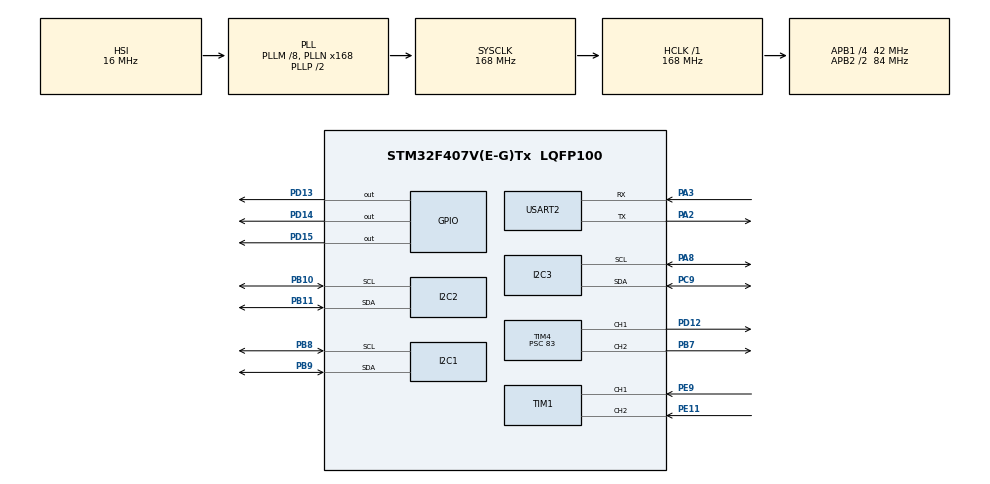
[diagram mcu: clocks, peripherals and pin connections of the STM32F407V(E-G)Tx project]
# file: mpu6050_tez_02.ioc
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I2C1.DutyCycle=I2C_DUTYCYCLE_16_9
I2C1.I2C_Mode=I2C_Fast
I2C2.DutyCycle=I2C_DUTYCYCLE_16_9
I2C2.I2C_Mode=I2C_Fast
I2C3.I2C_Mode=I2C_Fast
Mcu.Family=STM32F4
Mcu.Name=STM32F407V(E-G)Tx
Mcu.Package=LQFP100
NVIC.PriorityGroup=NVIC_PRIORITYGROUP_0
PA13.Mode=Serial_Wire
PA13.Signal=SYS_JTMS-SWDIO
PA14.Mode=Serial_Wire
PA14.Signal=SYS_JTCK-SWCLK
PA2.Mode=Asynchronous
PA2.Signal=USART2_TX
PA3.Mode=Asynchronous
PA3.Signal=USART2_RX
PA8.Mode=I2C
PA8.Signal=I2C3_SCL
PB10.Mode=I2C
PB10.Signal=I2C2_SCL
PB11.Mode=I2C
PB11.Signal=I2C2_SDA
PB7.Signal=S_TIM4_CH2
PB8.Mode=I2C
PB8.Signal=I2C1_SCL
PB9.Mode=I2C
PB9.Signal=I2C1_SDA
PC9.Mode=I2C
PC9.Signal=I2C3_SDA
PD12.Signal=S_TIM4_CH1
PD13.Signal=GPIO_Output
PD14.Signal=GPIO_Output
PD15.Signal=GPIO_Output
PE11.Signal=S_TIM1_CH2
PE9.Signal=S_TIM1_CH1
PH0-OSC_IN.Mode=HSE-External-Oscillator
PH0-OSC_IN.Signal=RCC_OSC_IN
PH1-OSC_OUT.Mode=HSE-External-Oscillator
PH1-OSC_OUT.Signal=RCC_OSC_OUT
ProjectManager.HeapSize=0x200
ProjectManager.StackSize=0x400
ProjectManager.TargetToolchain=STM32CubeIDE
RCC.48MHZClocksFreq_Value=48000000
RCC.AHBFreq_Value=168000000
RCC.APB1CLKDivider=RCC_HCLK_DIV4
RCC.APB1Freq_Value=42000000
RCC.APB1TimFreq_Value=84000000
RCC.APB2CLKDivider=RCC_HCLK_DIV2
RCC.APB2Freq_Value=84000000
RCC.APB2TimFreq_Value=168000000
RCC.CortexFreq_Value=168000000
RCC.HCLKFreq_Value=168000000
RCC.HSE_VALUE=8000000
RCC.HSI_VALUE=16000000
RCC.LSE_VALUE=32768
RCC.PLLM=8
RCC.PLLN=168
RCC.PLLQ=7
RCC.SYSCLKFreq_VALUE=168000000
RCC.SYSCLKSource=RCC_SYSCLKSOURCE_PLLCLK
RCC.VCOOutputFreq_Value=336000000
SH.S_TIM1_CH1.0=TIM1_CH1,Encoder_Interface
SH.S_TIM1_CH2.0=TIM1_CH2,Encoder_Interface
SH.S_TIM4_CH1.0=TIM4_CH1,PWM Generation1 CH1
SH.S_TIM4_CH2.0=TIM4_CH2,PWM Generation2 CH2
TIM1.EncoderMode=TIM_ENCODERMODE_TI12
TIM1.IC2Filter=10
TIM4.Channel-PWM\ Generation1\ CH1=TIM_CHANNEL_1
TIM4.Channel-PWM\ Generation2\ CH2=TIM_CHANNEL_2
TIM4.Period=19999
TIM4.Prescaler=83
USART2.VirtualMode=VM_ASYNC
board=STM32F407G-DISC1

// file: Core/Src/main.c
/* USER CODE BEGIN Header */
/**
  ******************************************************************************
  * @file           : main.c
  * @brief          : Main program body
  ******************************************************************************
  * @attention
  *
  * Copyright (c) 2022 STMicroelectronics.
  * All rights reserved.
  *
  * This software is licensed under terms that can be found in the LICENSE file
  * in the root directory of this software component.
  * If no LICENSE file comes with this software, it is provided AS-IS.
  *
  ******************************************************************************
  */
/* USER CODE END Header */
#include "main.h"

/* USER CODE BEGIN Includes */
#include "MPU6050.h"
#include <math.h>
#include <stdio.h>
#include <stdlib.h>
#include<stdint.h>
/* USER CODE END Includes */

I2C_HandleTypeDef hi2c1;
I2C_HandleTypeDef hi2c2;
I2C_HandleTypeDef hi2c3;

TIM_HandleTypeDef htim1;
TIM_HandleTypeDef htim4;

UART_HandleTypeDef huart2;

/* USER CODE BEGIN PV */
uint32_t MAP(uint32_t au32_IN, uint32_t au32_INmin, uint32_t au32_INmax, uint32_t au32_OUTmin, uint32_t au32_OUTmax);
float cax, cay, caz, cgx, cgy, cgz;
int16_t ax, ay, az, gx, gy, gz, temp;
float temperature, gyro_roll, gyro_pitch, acc_roll, acc_pitch, acc_total_vector, angle_roll, angle_pitch;
float time, prevtime, elapsedtime;
int pulse;

float cax_2, cay_2, caz_2, cgx_2, cgy_2, cgz_2;
int16_t ax_2, ay_2, az_2, gx_2, gy_2, gz_2, temp_2;
float temperature_2, gyro_roll_2, gyro_pitch_2, acc_roll_2, acc_pitch_2, acc_total_vector_2, angle_roll_2, angle_pitch_2;
//float time_2, prevtime_2, elapsedtime_2;
//int pulse_2;

float cax_3, cay_3, caz_3, cgx_3, cgy_3, cgz_3;
int16_t ax_3, ay_3, az_3, gx_3, gy_3, gz_3, temp_3;
float temperature_3, gyro_roll_3, gyro_pitch_3, acc_roll_3, acc_pitch_3, acc_total_vector_3, angle_roll_3, angle_pitch_3;
//float time_3, prevtime_3, elapsedtime_3;
//int pulse_3;

float cax_4, cay_4, caz_4, cgx_4, cgy_4, cgz_4;
int16_t ax_4, ay_4, az_4, gx_4, gy_4, gz_4, temp_4;
float temperature_4, gyro_roll_4, gyro_pitch_4, acc_roll_4, acc_pitch_4, acc_total_vector_4, angle_roll_4, angle_pitch_4;

uint16_t encvalue;
/* USER CODE END PV */

void SystemClock_Config(void);
static void MX_GPIO_Init(void);
static void MX_I2C1_Init(void);
static void MX_USART2_UART_Init(void);
static void MX_TIM4_Init(void);
static void MX_I2C2_Init(void);
static void MX_I2C3_Init(void);
static void MX_TIM1_Init(void);

/* USER CODE BEGIN 0 */
int MPU6050_TEST()
{
	HAL_StatusTypeDef status;

	status = HAL_I2C_IsDeviceReady(&hi2c1, MPU6050_ADDRESS , 4, HAL_MAX_DELAY);

	if(status==HAL_OK)
	{
		return 1;
	}
	else
	{
		return 0;
	}
}
int MPU6050_TEST2()
{
	HAL_StatusTypeDef status;

	status = HAL_I2C_IsDeviceReady(&hi2c2, MPU6050_ADDRESS , 4, HAL_MAX_DELAY);

	if(status==HAL_OK)
	{

		return 1;
	}
	else
	{
		return 0;
	}
}
uint32_t MAP(uint32_t au32_IN, uint32_t au32_INmin, uint32_t au32_INmax, uint32_t au32_OUTmin, uint32_t au32_OUTmax)
{
    return ((((au32_IN - au32_INmin)*(au32_OUTmax - au32_OUTmin))/(au32_INmax - au32_INmin)) + au32_OUTmin);
}

/* USER CODE END 0 */

int main(void)
{

  /* MCU Configuration--------------------------------------------------------*/

  /* Reset of all peripherals, Initializes the Flash interface and the Systick. */
  HAL_Init();

  /* Configure the system clock */
  SystemClock_Config();

  /* Initialize all configured peripherals */
  MX_GPIO_Init();
  MX_I2C1_Init();
  MX_USART2_UART_Init();
  MX_TIM4_Init();
  MX_I2C2_Init();
  MX_I2C3_Init();
  MX_TIM1_Init();
  /* USER CODE BEGIN 2 */
  Init(FS_SEL_500, AFS_SEL_8G, DLPF_CFG_3); // Temel ayarlamalar yapiliir. Jiroskop, ivmeölçer hassasiyeti ve filtre değeri
  Imu_Calibration(100, &cax, &cay, &caz, &cgx, &cgy, &cgz); // kalibrasyon fonksiyonudur 2000 ölçüm yaparak ortalamasi alinir, duz zeminde yapilmasi tavsiye edilir.
 //  Init(FS_SEL_500, AFS_SEL_8G, DLPF_CFG_3); // Temel ayarlamalar yapiliir. Jiroskop, ivmeölçer hassasiyeti ve filtre değeri
    // Imu_Calibration2(100, &cax_2, &cay_2, &caz_2, &cgx_2, &cgy_2, &cgz_2); // kalibrasyon fonksiyonudur 2000 ölçüm yaparak ortalamasi alinir, duz zeminde yapilmasi tavsiye edilir.

  //  Imu_Calibration3(100, &cax_3, &cay_3, &caz_3, &cgx_3, &cgy_3, &cgz_3); // kalibrasyon fonksiyonudur 2000 ölçüm yaparak ortalamasi alinir, duz zeminde yapilmasi tavsiye edilir.
  //  HAL_TIM_PWM_Start(&htim4, TIM_CHANNEL_1);
 //HAL_TIM_PWM_Start(&htim4, TIM_CHANNEL_2);
  HAL_TIM_Encoder_Start(&htim1, TIM_CHANNEL_ALL);
  /* USER CODE END 2 */

  /* Infinite loop */
  while (1)
  {

    /* USER CODE BEGIN 3 */

	//  status =  MPU6050_TEST();
	  //status2 =  MPU6050_TEST();
	  //Dongu baslangici ile zaman sayimina baslayan fonksiyonlardir, while dongusunun altinda diger kisimi bulunmaktadir.
	  	  prevtime = time;
	  	  time = HAL_GetTick();
	  	  elapsedtime=(time-prevtime)*1000;

	  	  //ham verileri elde etme
	  	  Imu_Raw_Values(&ax, &ay, &az, &gx, &gy, &gz, &temp);
	  	Imu_Raw_Values2(&ax_2, &ay_2, &az_2, &gx_2, &gy_2, &gz_2, &temp_2);
	  	Imu_Raw_Values3(&ax_3, &ay_3, &az_3, &gx_3, &gy_3, &gz_3, &temp_3);
	 	Imu_Raw_Values4(&ax_4, &ay_4, &az_4, &gx_4, &gy_4, &gz_4, &temp_4);
	  	  //gyro acilari elde etme
	  	  gyro_roll += (gx-cgx)*0.004; //4000 us == 0.004 saniye --> derece/saniye
	  	  gyro_pitch += (gy-cgy)*0.004;

	  	 gyro_roll_2 += (gx_2-cgx_2)*0.004; //4000 us == 0.004 saniye --> derece/saniye
	     gyro_pitch_2 += (gy_2-cgy_2)*0.004;

	     gyro_roll_3 += (gx_3-cgx_3)*0.004; //4000 us == 0.004 saniye --> derece/saniye
	      gyro_pitch_3 += (gy_3-cgy_3)*0.004;

	     gyro_roll_4 += (gx_4-cgx_4)*0.004; //4000 us == 0.004 saniye --> derece/saniye
	     gyro_pitch_4 += (gy_4-cgy_4)*0.004;
	  	  //ivmeolcer verilerinden aci elde etme - euler acilari
	  	  acc_total_vector = sqrt(ax*ax + ay*ay + az*az);
	  	 acc_total_vector_2 = sqrt(ax_2*ax_2 + ay_2*ay_2 + az_2*az_2);
		 acc_total_vector_3 = sqrt(ax_3*ax_3 + ay_3*ay_3 + az_3*az_3);
		 acc_total_vector_4 = sqrt(ax_4*ax_4 + ay_3*ay_4 + az_4*az_4);

	  	  //57.296 = 1 / (3.142 / 180)
	  	  acc_pitch = asin((float)ay / acc_total_vector) * 57.296;
	  	  acc_roll = asin((float)ax / acc_total_vector) * 57.296;

	  	acc_pitch_2 = asin((float)ay_2 / acc_total_vector_2) * 57.296;
	     acc_roll_2 = asin((float)ax_2 / acc_total_vector_2) * 57.296;

	 	acc_pitch_3 = asin((float)ay_3 / acc_total_vector_3) * 57.296;
	 	 acc_roll_3 = asin((float)ax_3 / acc_total_vector_3) * 57.296;

	 	acc_pitch_4 = asin((float)ay_4 / acc_total_vector_4) * 57.296;
	 	 	 acc_roll_4 = asin((float)ax_4 / acc_total_vector_4) * 57.296;
	  	  //ilkel tamamlayici filtre toplam kisimi
	  	  angle_pitch = angle_pitch * 0.9 + acc_pitch * 0.1;
	  	  angle_roll = angle_roll * 0.9 + acc_roll * 0.1;

		  angle_pitch_2 = angle_pitch_2 * 0.9 + acc_pitch_2 * 0.1;
		  angle_roll_2 = angle_roll_2 * 0.9 + acc_roll_2 * 0.1;

		  angle_pitch_3 = angle_pitch_3 * 0.9 + acc_pitch_3 * 0.1;
		angle_roll_3 = angle_roll_3 * 0.9 + acc_roll_3 * 0.1;

		  angle_pitch_4 = angle_pitch_4 * 0.9 + acc_pitch_4 * 0.1;
			angle_roll_4 = angle_roll_4 * 0.9 + acc_roll_4 * 0.1;
	  	 //sicaklik hesabi-formulsayon datasheet icerisinde mevcuttur
	  	  temperature = (temp/340.0)+36.53;
		  temperature_2 = (temp_2/340.0)+36.53;
		 temperature_3 = (temp_3/340.0)+36.53;
		  temperature_4 = (temp_4/340.0)+36.53;

     HAL_GPIO_WritePin(GPIOD, GPIO_PIN_13, GPIO_PIN_SET);
	  	  //tek dongu suresini 4000 us degerine sabitleyen blok
	  	  while((HAL_GetTick() - prevtime)*1000 < 4000);
	  	  prevtime = HAL_GetTick();
		  encvalue =  __HAL_TIM_GET_COUNTER(&htim1);
	pulse 	=  MAP(angle_pitch, 0, 90, 500, 2000);
	  __HAL_TIM_SET_COMPARE(&htim4,TIM_CHANNEL_1,pulse);
  }
  /* USER CODE END 3 */
}

void SystemClock_Config(void)
{
  RCC_OscInitTypeDef RCC_OscInitStruct = {0};
  RCC_ClkInitTypeDef RCC_ClkInitStruct = {0};

  /** Configure the main internal regulator output voltage
  */
  __HAL_RCC_PWR_CLK_ENABLE();
  __HAL_PWR_VOLTAGESCALING_CONFIG(PWR_REGULATOR_VOLTAGE_SCALE1);

  /** Initializes the RCC Oscillators according to the specified parameters
  * in the RCC_OscInitTypeDef structure.
  */
  RCC_OscInitStruct.OscillatorType = RCC_OSCILLATORTYPE_HSI;
  RCC_OscInitStruct.HSIState = RCC_HSI_ON;
  RCC_OscInitStruct.HSICalibrationValue = RCC_HSICALIBRATION_DEFAULT;
  RCC_OscInitStruct.PLL.PLLState = RCC_PLL_ON;
  RCC_OscInitStruct.PLL.PLLSource = RCC_PLLSOURCE_HSI;
  RCC_OscInitStruct.PLL.PLLM = 8;
  RCC_OscInitStruct.PLL.PLLN = 168;
  RCC_OscInitStruct.PLL.PLLP = RCC_PLLP_DIV2;
  RCC_OscInitStruct.PLL.PLLQ = 7;
  if (HAL_RCC_OscConfig(&RCC_OscInitStruct) != HAL_OK)
  {
    Error_Handler();
  }

  /** Initializes the CPU, AHB and APB buses clocks
  */
  RCC_ClkInitStruct.ClockType = RCC_CLOCKTYPE_HCLK|RCC_CLOCKTYPE_SYSCLK
                              |RCC_CLOCKTYPE_PCLK1|RCC_CLOCKTYPE_PCLK2;
  RCC_ClkInitStruct.SYSCLKSource = RCC_SYSCLKSOURCE_PLLCLK;
  RCC_ClkInitStruct.AHBCLKDivider = RCC_SYSCLK_DIV1;
  RCC_ClkInitStruct.APB1CLKDivider = RCC_HCLK_DIV4;
  RCC_ClkInitStruct.APB2CLKDivider = RCC_HCLK_DIV2;

  if (HAL_RCC_ClockConfig(&RCC_ClkInitStruct, FLASH_LATENCY_5) != HAL_OK)
  {
    Error_Handler();
  }
}

static void MX_I2C1_Init(void)
{

  hi2c1.Instance = I2C1;
  hi2c1.Init.ClockSpeed = 400000;
  hi2c1.Init.DutyCycle = I2C_DUTYCYCLE_16_9;
  hi2c1.Init.OwnAddress1 = 0;
  hi2c1.Init.AddressingMode = I2C_ADDRESSINGMODE_7BIT;
  hi2c1.Init.DualAddressMode = I2C_DUALADDRESS_DISABLE;
  hi2c1.Init.OwnAddress2 = 0;
  hi2c1.Init.GeneralCallMode = I2C_GENERALCALL_DISABLE;
  hi2c1.Init.NoStretchMode = I2C_NOSTRETCH_DISABLE;
  if (HAL_I2C_Init(&hi2c1) != HAL_OK)
  {
    Error_Handler();
  }

}

static void MX_I2C2_Init(void)
{

  hi2c2.Instance = I2C2;
  hi2c2.Init.ClockSpeed = 400000;
  hi2c2.Init.DutyCycle = I2C_DUTYCYCLE_16_9;
  hi2c2.Init.OwnAddress1 = 0;
  hi2c2.Init.AddressingMode = I2C_ADDRESSINGMODE_7BIT;
  hi2c2.Init.DualAddressMode = I2C_DUALADDRESS_DISABLE;
  hi2c2.Init.OwnAddress2 = 0;
  hi2c2.Init.GeneralCallMode = I2C_GENERALCALL_DISABLE;
  hi2c2.Init.NoStretchMode = I2C_NOSTRETCH_DISABLE;
  if (HAL_I2C_Init(&hi2c2) != HAL_OK)
  {
    Error_Handler();
  }

}

static void MX_I2C3_Init(void)
{

  hi2c3.Instance = I2C3;
  hi2c3.Init.ClockSpeed = 400000;
  hi2c3.Init.DutyCycle = I2C_DUTYCYCLE_2;
  hi2c3.Init.OwnAddress1 = 0;
  hi2c3.Init.AddressingMode = I2C_ADDRESSINGMODE_7BIT;
  hi2c3.Init.DualAddressMode = I2C_DUALADDRESS_DISABLE;
  hi2c3.Init.OwnAddress2 = 0;
  hi2c3.Init.GeneralCallMode = I2C_GENERALCALL_DISABLE;
  hi2c3.Init.NoStretchMode = I2C_NOSTRETCH_DISABLE;
  if (HAL_I2C_Init(&hi2c3) != HAL_OK)
  {
    Error_Handler();
  }

}

static void MX_TIM1_Init(void)
{

  TIM_Encoder_InitTypeDef sConfig = {0};
  TIM_MasterConfigTypeDef sMasterConfig = {0};

  htim1.Instance = TIM1;
  htim1.Init.Prescaler = 0;
  htim1.Init.CounterMode = TIM_COUNTERMODE_UP;
  htim1.Init.Period = 65535;
  htim1.Init.ClockDivision = TIM_CLOCKDIVISION_DIV1;
  htim1.Init.RepetitionCounter = 0;
  htim1.Init.AutoReloadPreload = TIM_AUTORELOAD_PRELOAD_DISABLE;
  sConfig.EncoderMode = TIM_ENCODERMODE_TI12;
  sConfig.IC1Polarity = TIM_ICPOLARITY_RISING;
  sConfig.IC1Selection = TIM_ICSELECTION_DIRECTTI;
  sConfig.IC1Prescaler = TIM_ICPSC_DIV1;
  sConfig.IC1Filter = 0;
  sConfig.IC2Polarity = TIM_ICPOLARITY_RISING;
  sConfig.IC2Selection = TIM_ICSELECTION_DIRECTTI;
  sConfig.IC2Prescaler = TIM_ICPSC_DIV1;
  sConfig.IC2Filter = 0;
  if (HAL_TIM_Encoder_Init(&htim1, &sConfig) != HAL_OK)
  {
    Error_Handler();
  }
  sMasterConfig.MasterOutputTrigger = TIM_TRGO_RESET;
  sMasterConfig.MasterSlaveMode = TIM_MASTERSLAVEMODE_DISABLE;
  if (HAL_TIMEx_MasterConfigSynchronization(&htim1, &sMasterConfig) != HAL_OK)
  {
    Error_Handler();
  }

}

static void MX_TIM4_Init(void)
{

  TIM_MasterConfigTypeDef sMasterConfig = {0};
  TIM_OC_InitTypeDef sConfigOC = {0};

  htim4.Instance = TIM4;
  htim4.Init.Prescaler = 83;
  htim4.Init.CounterMode = TIM_COUNTERMODE_UP;
  htim4.Init.Period = 19999;
  htim4.Init.ClockDivision = TIM_CLOCKDIVISION_DIV1;
  htim4.Init.AutoReloadPreload = TIM_AUTORELOAD_PRELOAD_DISABLE;
  if (HAL_TIM_PWM_Init(&htim4) != HAL_OK)
  {
    Error_Handler();
  }
  sMasterConfig.MasterOutputTrigger = TIM_TRGO_RESET;
  sMasterConfig.MasterSlaveMode = TIM_MASTERSLAVEMODE_DISABLE;
  if (HAL_TIMEx_MasterConfigSynchronization(&htim4, &sMasterConfig) != HAL_OK)
  {
    Error_Handler();
  }
  sConfigOC.OCMode = TIM_OCMODE_PWM1;
  sConfigOC.Pulse = 0;
  sConfigOC.OCPolarity = TIM_OCPOLARITY_HIGH;
  sConfigOC.OCFastMode = TIM_OCFAST_DISABLE;
  if (HAL_TIM_PWM_ConfigChannel(&htim4, &sConfigOC, TIM_CHANNEL_1) != HAL_OK)
  {
    Error_Handler();
  }
  if (HAL_TIM_PWM_ConfigChannel(&htim4, &sConfigOC, TIM_CHANNEL_2) != HAL_OK)
  {
    Error_Handler();
  }
  HAL_TIM_MspPostInit(&htim4);

}

static void MX_USART2_UART_Init(void)
{

  huart2.Instance = USART2;
  huart2.Init.BaudRate = 115200;
  huart2.Init.WordLength = UART_WORDLENGTH_8B;
  huart2.Init.StopBits = UART_STOPBITS_1;
  huart2.Init.Parity = UART_PARITY_NONE;
  huart2.Init.Mode = UART_MODE_TX_RX;
  huart2.Init.HwFlowCtl = UART_HWCONTROL_NONE;
  huart2.Init.OverSampling = UART_OVERSAMPLING_16;
  if (HAL_UART_Init(&huart2) != HAL_OK)
  {
    Error_Handler();
  }

}

static void MX_GPIO_Init(void)
{
  GPIO_InitTypeDef GPIO_InitStruct = {0};

  /* GPIO Ports Clock Enable */
  __HAL_RCC_GPIOH_CLK_ENABLE();
  __HAL_RCC_GPIOA_CLK_ENABLE();
  __HAL_RCC_GPIOE_CLK_ENABLE();
  __HAL_RCC_GPIOB_CLK_ENABLE();
  __HAL_RCC_GPIOD_CLK_ENABLE();
  __HAL_RCC_GPIOC_CLK_ENABLE();

  /*Configure GPIO pin Output Level */
  HAL_GPIO_WritePin(GPIOD, GPIO_PIN_13|GPIO_PIN_14|GPIO_PIN_15, GPIO_PIN_RESET);

  /*Configure GPIO pins : PD13 PD14 PD15 */
  GPIO_InitStruct.Pin = GPIO_PIN_13|GPIO_PIN_14|GPIO_PIN_15;
  GPIO_InitStruct.Mode = GPIO_MODE_OUTPUT_PP;
  GPIO_InitStruct.Pull = GPIO_NOPULL;
  GPIO_InitStruct.Speed = GPIO_SPEED_FREQ_LOW;
  HAL_GPIO_Init(GPIOD, &GPIO_InitStruct);

}

void Error_Handler(void)
{
  __disable_irq();
  while (1)
  {
  }
}
